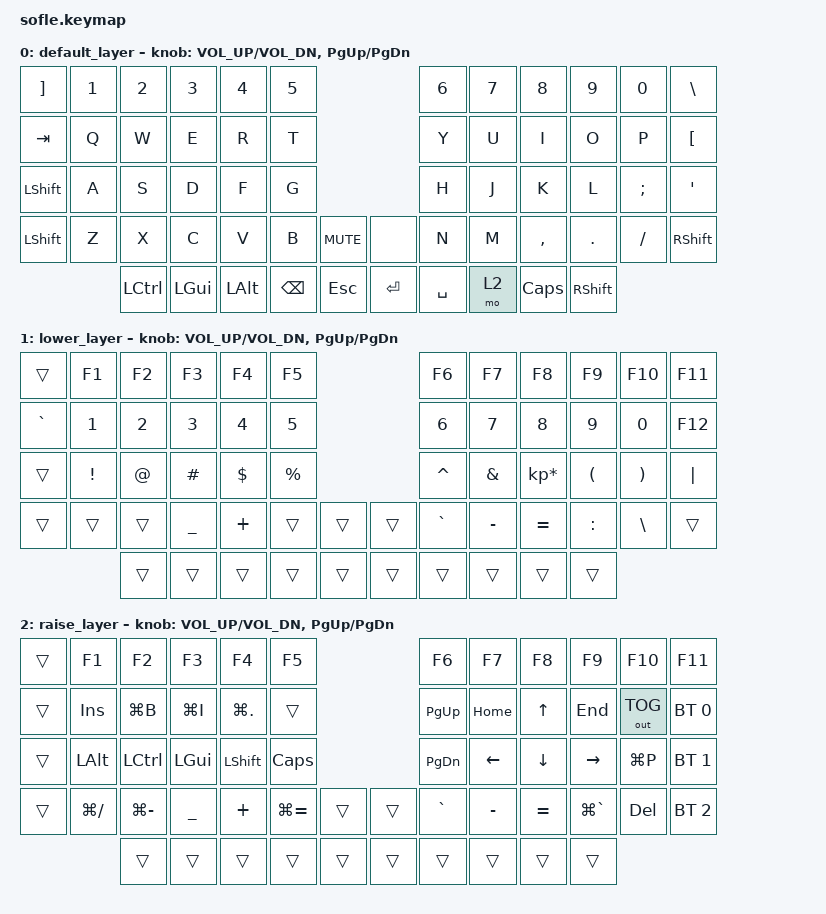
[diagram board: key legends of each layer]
/*
 * Copyright (c) 2020 The ZMK Contributors
 *
 * SPDX-License-Identifier: MIT
 */

#include <behaviors.dtsi>
#include <dt-bindings/zmk/keys.h>
#include <dt-bindings/zmk/bt.h>
#include <dt-bindings/zmk/outputs.h>

/ {
    keymap {
        compatible = "zmk,keymap";

        default_layer {
// ------------------------------------------------------------------------------------------------------------
// |  =    |  1  |  2  |  3   |  4   |  5   |                   |  6   |  7    |  8    |  9   |   0   |   \   |
// |  TAB  |  '  |  ,  |  .   |  p   |  y   |                   |  Y   |  U    |  I    |  O   |   P   |   /   |
// | SHIFT |  A  |  S  |  D   |  F   |  G   |                   |  H   |  J    |  K    |  L   |   ;   |   -   |
// | SHIFT |  ;  |  Q  |  C   |  V   |  B   |  MUTE  |  |       |  N   |  M    |  ,    |  .   |   /   | SHIFT |
//               | GUI | ALT  | CTRL | LOWER|  ENTER |  | SPACE | RAISE| CTRL  | ALT   | GUI  |
            bindings = <
&kp RBKT  &kp N1 &kp N2   &kp N3   &kp N4    &kp N5                      &kp N6 &kp N7    &kp N8    &kp N9   &kp N0   &kp BSLH
&kp TAB   &kp Q  &kp W    &kp E    &kp R     &kp T                       &kp Y  &kp U     &kp I     &kp O    &kp P    &kp LBKT
&kp LSHFT &kp A  &kp S    &kp D    &kp F     &kp G                       &kp H  &kp J     &kp K     &kp L    &kp SEMI &kp SQT
&kp LSHFT &kp Z  &kp X    &kp C    &kp V     &kp B  &kp C_MUTE &none     &kp N  &kp M     &kp COMMA &kp DOT  &kp FSLH &kp RSHFT
                &kp LCTRL &kp LGUI &kp LALT &kp BSPC  &kp ESC    &kp RET &kp SPACE &mo 2     &kp CAPS  &kp RSHFT
            >;

            sensor-bindings = <&inc_dec_kp C_VOL_UP C_VOL_DN &inc_dec_kp PG_UP PG_DN>;
        };

        lower_layer {
// TODO: Some binds are waiting for shifted keycode support.
// ------------------------------------------------------------------------------------------------------------
// |       |  F1 |  F2 |  F3  |  F4  |  F5  |                   |  F6  |  F7   |  F8   |  F9  |  F10  |  F11  |
// | `     |   1 |   2 |   3  |   4  |   5  |                   |   6  |   7   |   8   |   9  |    0  |  F12  |
// |       |  !  |  @  |  #   |  $   |  %   |                   |  ^   |  &    |  *    |  (   |   )   |   |   |
// |       |     |     |  {   |  }   |      |        |  |       |  `   |  [    |  ]    |      |       |       |
//               |     |      |      |      |        |  |       |      |       |       |      |
            bindings = <
&trans    &kp F1    &kp F2    &kp F3      &kp F4    &kp F5                    &kp F6    &kp F7   &kp F8          &kp F9    &kp F10   &kp F11
&kp GRAVE &kp N1    &kp N2    &kp N3      &kp N4    &kp N5                    &kp N6    &kp N7   &kp N8          &kp N9    &kp N0    &kp F12
&trans    &kp EXCL  &kp AT    &kp HASH    &kp DLLR  &kp PRCNT                 &kp CARET &kp AMPS &kp KP_MULTIPLY &kp LPAR  &kp RPAR  &kp PIPE
&trans    &trans    &trans    &kp UNDER   &kp PLUS  &trans    &trans   &trans &kp GRAVE &kp MINUS &kp EQUAL      &kp COLON &kp BSLH  &trans
                    &trans    &trans      &trans    &trans    &trans   &trans &trans    &trans   &trans          &trans
            >;

            sensor-bindings = <&inc_dec_kp C_VOL_UP C_VOL_DN &inc_dec_kp PG_UP PG_DN>;
        };

        raise_layer {
// ------------------------------------------------------------------------------------------------------------
// |     |  F1  |  F2  |  F3   |  F4   |  F5  |                |  F6  |  F7  |  F8   |  F9  |  F10  |  F11  |
// |     | INS  | CUT  | COPY  | PASTE |      |                | PGUP | HOME |   ^   | END  |OUT_TOG| BT0   |
// |     | ALT  | CTRL | GUI   | SHFT  | CAPS |                | PGDN |   <- |   v   |  ->  |  LN   | BT1   |
// |     | UNDO | G-[  |  {    |  }    | G-]  |      |  |      |   `  |   [  |   ]   |  G-` |  DEL  | BT2   |
//              |      |       |       |      |      |  |      |      |      |       |      |
            bindings = <
&trans    &kp F1    &kp F2    &kp F3      &kp F4    &kp F5                    &kp F6    &kp F7   &kp F8          &kp F9    &kp F10   &kp F11
&trans     &kp INS      &kp LG(B)    &kp LG(I)    &kp LG(DOT)       &trans                   &kp PG_UP &kp HOME  &kp UP   &kp END   &out OUT_TOG  &bt BT_SEL 0
&trans     &kp LALT     &kp LCTRL    &kp LGUI     &kp LSHFT    &kp CLCK                 &kp PG_DN &kp LEFT  &kp DOWN &kp RIGHT &kp LG(P) &bt BT_SEL 1
&trans     &kp LG(FSLH) &kp LG(MINUS) &kp UNDER   &kp PLUS  &kp LG(EQUAL)  &trans   &trans &kp GRAVE &kp MINUS &kp EQUAL &kp LG(GRAVE) &kp DEL &bt BT_SEL 2
                        &trans       &trans       &trans       &trans  &trans   &trans  &trans    &trans    &trans   &trans
            >;

            sensor-bindings = <&inc_dec_kp C_VOL_UP C_VOL_DN &inc_dec_kp PG_UP PG_DN>;
        };
    };
};
